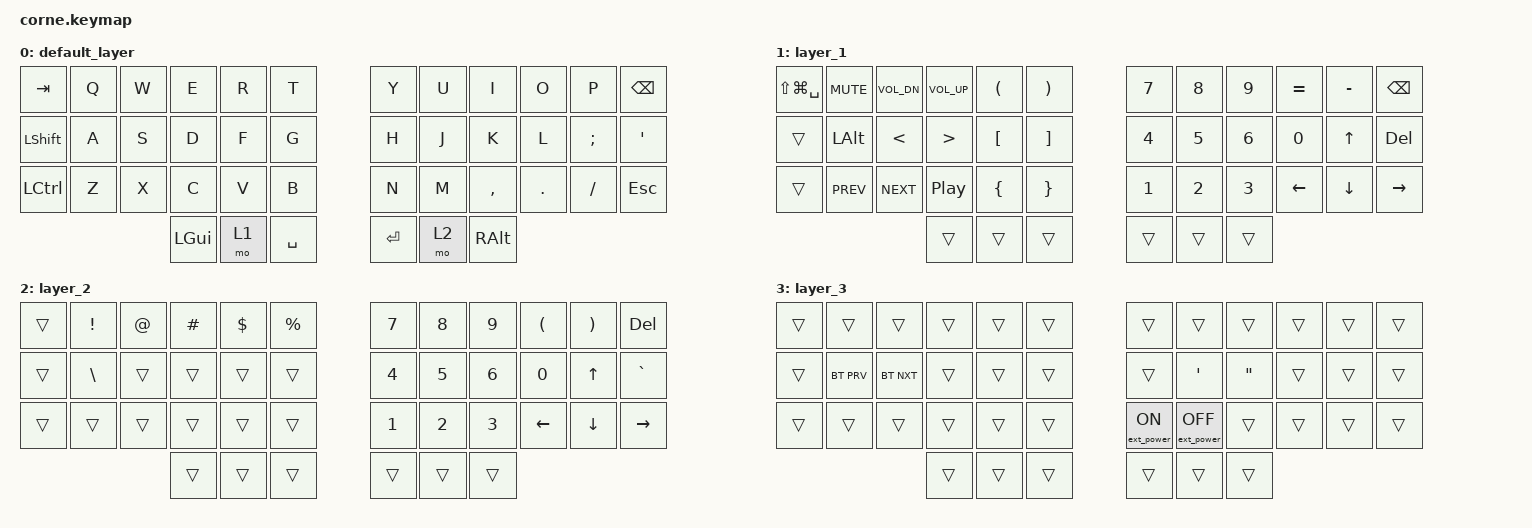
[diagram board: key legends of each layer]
/*
 * Copyright (c) 2020 The ZMK Contributors
 *
 * SPDX-License-Identifier: MIT
 */

#include <behaviors.dtsi>
#include <dt-bindings/zmk/bt.h>
#include <dt-bindings/zmk/ext_power.h>
#include <dt-bindings/zmk/keys.h>

/ {
    combos { compatible = "zmk,combos"; };

    behaviors {
        tapping_term: tapping-term {
            compatible = "zmk,tapping-term";
            tapping-term-ms = <500>; /* Ajustar a 500 ms */
        };
    };

    macros {
        screenshot: screenshot {
            compatible = "zmk,behavior-macro";
            #binding-cells = <0>;
            bindings = <&kp LEFT_SHIFT &kp LGUI &kp NUMBER_4>;
            label = "SCREENSHOT";
        };

        open_question_mark: open_question_mark {
            compatible = "zmk,behavior-macro";
            #binding-cells = <0>;
            bindings = <&kp LC(QMARK)>;
            label = "OPEN_QUESTION_MARK";
        };
    };

    keymap {
        compatible = "zmk,keymap";

        default_layer {
            // -----------------------------------------------------------------------------------------
            // |  TAB |  Q  |  W  |  E  |  R  |  T  |   |  Y  |  U   |  I  |  O  |  P  | BSPC |
            // | CTRL |  A  |  S  |  D  |  F  |  G  |   |  H  |  J   |  K  |  L  |  ;  |  '   |
            // | SHFT |  Z  |  X  |  C  |  V  |  B  |   |  N  |  M   |  ,  |  .  |  /  | ESC  |
            //                    | GUI | LWR | SPC |   | ENT | RSE  | ALT |

            bindings = <
&kp TAB           &kp Q  &kp W  &kp E     &kp R  &kp T        &kp Y    &kp U  &kp I      &kp O       &kp P     &kp BSPC
&kp LEFT_SHIFT    &kp A  &kp S  &kp D     &kp F  &kp G        &kp H    &kp J  &kp K      &kp L       &kp SEMI  &kp SQT
&kp LEFT_CONTROL  &kp Z  &kp X  &kp C     &kp V  &kp B        &kp N    &kp M  &kp COMMA  &kp PERIOD  &kp FSLH  &kp ESC
                                &kp LGUI  &mo 1  &kp SPACE    &kp RET  &mo 2  &kp RALT
            >;
        };

        layer_1 {
            // -----------------------------------------------------------------------------------------
            // |  TAB |  1  |  2  |  3  |  4  |  5  |   |  6  |  7  |  8  |  9  |  0  | BSPC |
            // | BTCLR| BT1 | BT2 | BT3 | BT4 | BT5 |   | LFT | DWN |  UP | RGT |     |      |
            // | SHFT |     |     |     |     |     |   |     |     |     |     |     |      |
            //                    | GUI |     | SPC |   | ENT |     | ALT |

            bindings = <
&kp LS(LG(SPACE))  &kp C_MUTE    &kp C_VOL_DN   &kp C_VOL_UP      &kp LEFT_PARENTHESIS  &kp RIGHT_PARENTHESIS    &kp NUMBER_7  &kp NUMBER_8  &kp NUMBER_9  &kp EQUAL       &kp MINUS       &kp BACKSPACE
&trans             &kp LEFT_ALT  &kp LESS_THAN  &kp GREATER_THAN  &kp LEFT_BRACKET      &kp RIGHT_BRACKET        &kp NUMBER_4  &kp NUMBER_5  &kp NUMBER_6  &kp NUMBER_0    &kp UP_ARROW    &kp DELETE
&trans             &kp C_PREV    &kp C_NEXT     &kp C_PLAY_PAUSE  &kp LEFT_BRACE        &kp RIGHT_BRACE          &kp NUMBER_1  &kp NUMBER_2  &kp NUMBER_3  &kp LEFT_ARROW  &kp DOWN_ARROW  &kp RIGHT_ARROW
                                                &trans            &trans                &trans                   &trans        &trans        &trans
            >;
        };

        layer_2 {
            // -----------------------------------------------------------------------------------------
            // |  TAB |  !  |  @  |  #  |  $  |  %  |   |  ^  |  &  |  *  |  (  |  )  | BSPC |
            // | CTRL |     |     |     |     |     |   |  -  |  =  |  [  |  ]  |  \  |  `   |
            // | SHFT |     |     |     |     |     |   |  _  |  +  |  {  |  }  | "|" |  ~   |
            //                    | GUI |     | SPC |   | ENT |     | ALT |

            bindings = <
&trans  &kp EXCL       &kp AT  &kp HASH  &kp DLLR  &kp PRCNT    &kp NUMBER_7  &kp NUMBER_8  &kp NUMBER_9  &kp LPAR        &kp RPAR        &kp DEL
&trans  &kp BACKSLASH  &trans  &trans    &trans    &trans       &kp NUMBER_4  &kp NUMBER_5  &kp NUMBER_6  &kp NUMBER_0    &kp UP_ARROW    &kp GRAVE
&trans  &trans         &trans  &trans    &trans    &trans       &kp NUMBER_1  &kp NUMBER_2  &kp NUMBER_3  &kp LEFT_ARROW  &kp DOWN_ARROW  &kp RIGHT_ARROW
                               &trans    &trans    &trans       &trans        &trans        &trans
            >;
        };

        layer_3 {
            bindings = <
&trans  &trans      &trans      &trans  &trans  &trans    &trans            &trans             &trans             &trans  &trans  &trans
&trans  &bt BT_PRV  &bt BT_NXT  &trans  &trans  &trans    &trans            &kp SINGLE_QUOTE   &kp DOUBLE_QUOTES  &trans  &trans  &trans
&trans  &trans      &trans      &trans  &trans  &trans    &ext_power EP_ON  &ext_power EP_OFF  &trans             &trans  &trans  &trans
                                &trans  &trans  &trans    &trans            &trans             &trans
            >;
        };
    };

    conditional_layers {
        compatible = "zmk,conditional-layers";

        extra {
            if-layers = <1 2>;
            then-layer = <3>;
        };
    };
};
